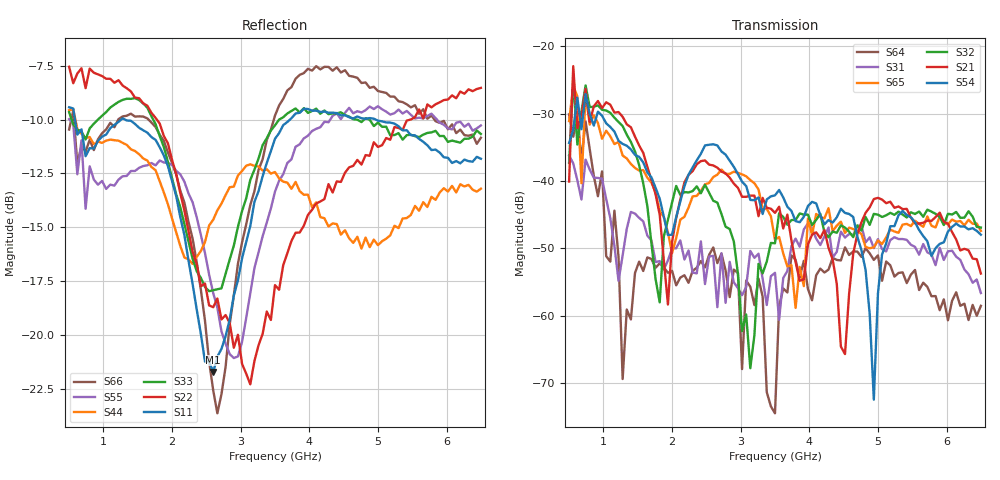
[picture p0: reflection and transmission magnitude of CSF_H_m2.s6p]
!Keysight Technologies,M9804A,MY58100912,A.14.10.03
!Date: Thursday, April 27, 2023 10:28:33
!Correction: S11(C  6-Port  )
!S12(C  6-Port  )
!S13(C  6-Port  )
!S14(C  6-Port  )
!S15(C  6-Port  )
!S16(C  6-Port  )
!S21(C  6-Port  )
!S22(C  6-Port  )
!S23(C  6-Port  )
!S24(C  6-Port  )
!S25(C  6-Port  )
!S26(C  6-Port  )
!S31(C  6-Port  )
!S32(C  6-Port  )
!S33(C  6-Port  )
!S34(C  6-Port  )
!S35(C  6-Port  )
!S36(C  6-Port  )
!S41(C  6-Port  )
!S42(C  6-Port  )
!S43(C  6-Port  )
!S44(C  6-Port  )
!S45(C  6-Port  )
!S46(C  6-Port  )
!S51(C  6-Port  )
!S52(C  6-Port  )
!S53(C  6-Port  )
!S54(C  6-Port  )
!S55(C  6-Port  )
!S56(C  6-Port  )
!S61(C  6-Port  )
!S62(C  6-Port  )
!S63(C  6-Port  )
!S64(C  6-Port  )
!S65(C  6-Port  )
!S66(C  6-Port  )
!S6P File: Measurement: :
# Hz S  RI  R 50
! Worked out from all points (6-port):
!   101 points, 500 MHz to 6.5 GHz, reference 50 ohm
!   strongest paths, dB at 500 MHz, 2 GHz, 3.5 GHz, 5 GHz, 6.5 GHz:
!     S54: -34.3, -48.0, -42.1, -56.7, -48.0
!     S21: -40.1, -49.0, -44.7, -42.5, -53.7
!     S32: -37.3, -43.2, -49.2, -45.0, -46.9
!     S65: -31.1, -50.7, -48.7, -48.8, -47.4
!     S31: -36.2, -50.0, -53.6, -48.6, -56.6
!     S64: -30.1, -53.3, -74.4, -51.0, -58.5
!   lowest |S11| = -21.7 dB at 2.6 GHz (marker M1), VSWR 1.18, Z = 42.7 + j1.99 ohm
!   |S11| at or under -10 dB: 585.5 MHz to 1.259 GHz (673.3 MHz wide, 73 % of centre); 1.316 GHz to 3.717 GHz (2.401 GHz wide, 95.4 % of centre); 4.969 GHz to end of sweep
